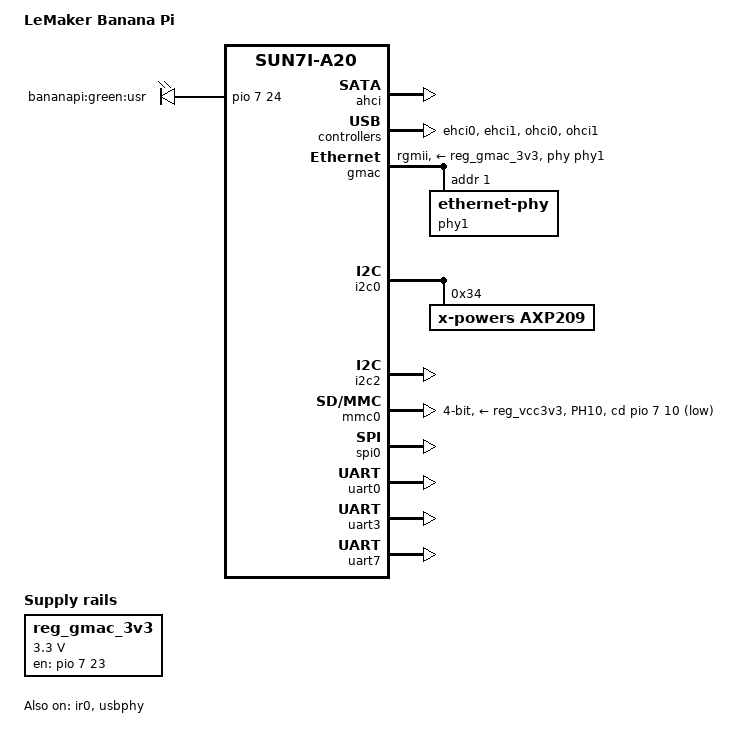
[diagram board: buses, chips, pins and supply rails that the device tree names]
/*
 * Copyright 2014 Hans de Goede <hdegoede@redhat.com>
 *
 * Hans de Goede <hdegoede@redhat.com>
 *
 * This file is dual-licensed: you can use it either under the terms
 * of the GPL or the X11 license, at your option. Note that this dual
 * licensing only applies to this file, and not this project as a
 * whole.
 *
 *  a) This file is free software; you can redistribute it and/or
 *     modify it under the terms of the GNU General Public License as
 *     published by the Free Software Foundation; either version 2 of the
 *     License, or (at your option) any later version.
 *
 *     This file is distributed in the hope that it will be useful,
 *     but WITHOUT ANY WARRANTY; without even the implied warranty of
 *     MERCHANTABILITY or FITNESS FOR A PARTICULAR PURPOSE.  See the
 *     GNU General Public License for more details.
 *
 *     You should have received a copy of the GNU General Public
 *     License along with this file; if not, write to the Free
 *     Software Foundation, Inc., 51 Franklin St, Fifth Floor, Boston,
 *     MA 02110-1301 USA
 *
 * Or, alternatively,
 *
 *  b) Permission is hereby granted, free of charge, to any person
 *     obtaining a copy of this software and associated documentation
 *     files (the "Software"), to deal in the Software without
 *     restriction, including without limitation the rights to use,
 *     copy, modify, merge, publish, distribute, sublicense, and/or
 *     sell copies of the Software, and to permit persons to whom the
 *     Software is furnished to do so, subject to the following
 *     conditions:
 *
 *     The above copyright notice and this permission notice shall be
 *     included in all copies or substantial portions of the Software.
 *
 *     THE SOFTWARE IS PROVIDED "AS IS", WITHOUT WARRANTY OF ANY KIND,
 *     EXPRESS OR IMPLIED, INCLUDING BUT NOT LIMITED TO THE WARRANTIES
 *     OF MERCHANTABILITY, FITNESS FOR A PARTICULAR PURPOSE AND
 *     NONINFRINGEMENT. IN NO EVENT SHALL THE AUTHORS OR COPYRIGHT
 *     HOLDERS BE LIABLE FOR ANY CLAIM, DAMAGES OR OTHER LIABILITY,
 *     WHETHER IN AN ACTION OF CONTRACT, TORT OR OTHERWISE, ARISING
 *     FROM, OUT OF OR IN CONNECTION WITH THE SOFTWARE OR THE USE OR
 *     OTHER DEALINGS IN THE SOFTWARE.
 */

/dts-v1/;
#include "sun7i-a20.dtsi"
#include "sunxi-common-regulators.dtsi"

#include <dt-bindings/gpio/gpio.h>
#include <dt-bindings/interrupt-controller/irq.h>
#include <dt-bindings/pinctrl/sun4i-a10.h>

/ {
	model = "LeMaker Banana Pi";
	compatible = "lemaker,bananapi", "allwinner,sun7i-a20";

	aliases {
		serial0 = &uart0;
		serial1 = &uart3;
		serial2 = &uart7;
	};

	chosen {
		stdout-path = "serial0:115200n8";
	};

	leds {
		compatible = "gpio-leds";
		pinctrl-names = "default";
		pinctrl-0 = <&led_pins_bananapi>;

		green {
			label = "bananapi:green:usr";
			gpios = <&pio 7 24 GPIO_ACTIVE_HIGH>;
		};
	};

	reg_gmac_3v3: gmac-3v3 {
		compatible = "regulator-fixed";
		pinctrl-names = "default";
		pinctrl-0 = <&gmac_power_pin_bananapi>;
		regulator-name = "gmac-3v3";
		regulator-min-microvolt = <3300000>;
		regulator-max-microvolt = <3300000>;
		startup-delay-us = <100000>;
		enable-active-high;
		gpio = <&pio 7 23 GPIO_ACTIVE_HIGH>;
	};
};

&ahci {
	status = "okay";
};

&ehci0 {
	status = "okay";
};

&ehci1 {
	status = "okay";
};

&gmac {
	pinctrl-names = "default";
	pinctrl-0 = <&gmac_pins_rgmii_a>;
	phy = <&phy1>;
	phy-mode = "rgmii";
	phy-supply = <&reg_gmac_3v3>;
	status = "okay";

	phy1: ethernet-phy@1 {
		reg = <1>;
	};
};

&i2c0 {
	pinctrl-names = "default";
	pinctrl-0 = <&i2c0_pins_a>;
	status = "okay";

	axp209: pmic@34 {
		compatible = "x-powers,axp209";
		reg = <0x34>;
		interrupt-parent = <&nmi_intc>;
		interrupts = <0 IRQ_TYPE_LEVEL_LOW>;

		interrupt-controller;
		#interrupt-cells = <1>;
	};
};

&i2c2 {
	pinctrl-names = "default";
	pinctrl-0 = <&i2c2_pins_a>;
	status = "okay";
};

&ir0 {
	pinctrl-names = "default";
	pinctrl-0 = <&ir0_pins_a>;
	status = "okay";
};

&mmc0 {
	pinctrl-names = "default";
	pinctrl-0 = <&mmc0_pins_a>, <&mmc0_cd_pin_bananapi>;
	vmmc-supply = <&reg_vcc3v3>;
	bus-width = <4>;
	cd-gpios = <&pio 7 10 GPIO_ACTIVE_HIGH>; /* PH10 */
	cd-inverted;
	status = "okay";
};

&ohci0 {
	status = "okay";
};

&ohci1 {
	status = "okay";
};

&pio {
	mmc0_cd_pin_bananapi: mmc0_cd_pin@0 {
		allwinner,pins = "PH10";
		allwinner,function = "gpio_in";
		allwinner,drive = <SUN4I_PINCTRL_10_MA>;
		allwinner,pull = <SUN4I_PINCTRL_PULL_UP>;
	};

	gmac_power_pin_bananapi: gmac_power_pin@0 {
		allwinner,pins = "PH23";
		allwinner,function = "gpio_out";
		allwinner,drive = <SUN4I_PINCTRL_10_MA>;
		allwinner,pull = <SUN4I_PINCTRL_NO_PULL>;
	};

	led_pins_bananapi: led_pins@0 {
		allwinner,pins = "PH24";
		allwinner,function = "gpio_out";
		allwinner,drive = <SUN4I_PINCTRL_10_MA>;
		allwinner,pull = <SUN4I_PINCTRL_NO_PULL>;
	};
};

&reg_usb1_vbus {
	status = "okay";
};

&reg_usb2_vbus {
	status = "okay";
};

&spi0 {
	pinctrl-names = "default";
	pinctrl-0 = <&spi0_pins_a>;
	status = "okay";
};

&uart0 {
	pinctrl-names = "default";
	pinctrl-0 = <&uart0_pins_a>;
	status = "okay";
};

&uart3 {
	pinctrl-names = "default";
	pinctrl-0 = <&uart3_pins_b>;
	status = "okay";
};

&uart7 {
	pinctrl-names = "default";
	pinctrl-0 = <&uart7_pins_a>;
	status = "okay";
};

&usbphy {
	usb1_vbus-supply = <&reg_usb1_vbus>;
	usb2_vbus-supply = <&reg_usb2_vbus>;
	status = "okay";
};
